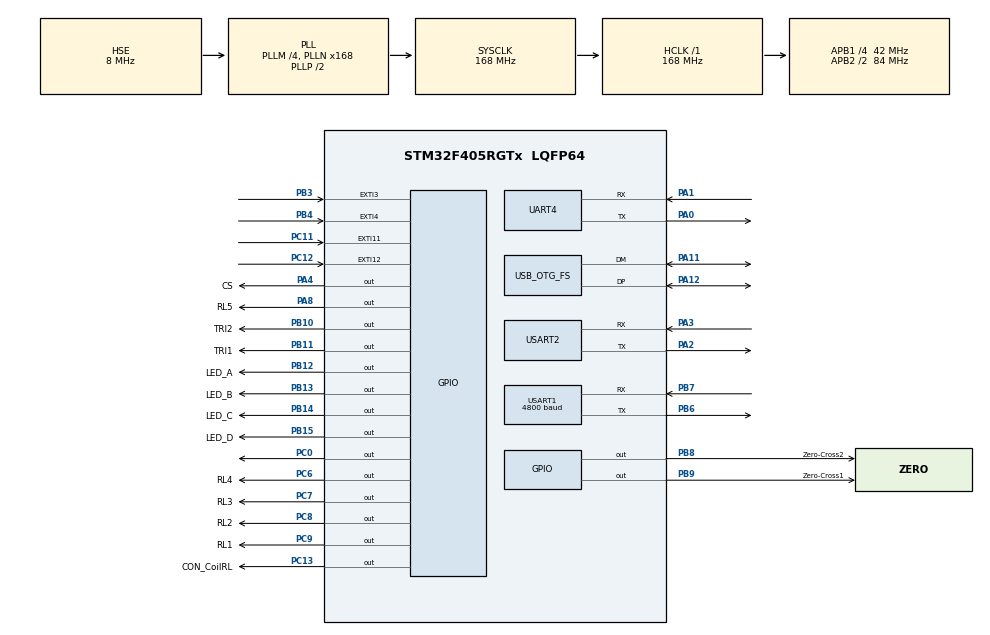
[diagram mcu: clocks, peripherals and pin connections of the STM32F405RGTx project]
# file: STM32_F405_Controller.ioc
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Mcu.Family=STM32F4
Mcu.Name=STM32F405RGTx
Mcu.Package=LQFP64
NVIC.EXTI15_10_IRQn=true\:0\:0\:false\:false\:true\:true\:true\:true
NVIC.EXTI3_IRQn=true\:0\:0\:false\:false\:true\:true\:true\:true
NVIC.EXTI4_IRQn=true\:0\:0\:false\:false\:true\:true\:true\:true
NVIC.PriorityGroup=NVIC_PRIORITYGROUP_4
NVIC.RCC_IRQn=true\:0\:0\:false\:false\:true\:true\:false\:true
NVIC.UART4_IRQn=true\:0\:0\:false\:false\:true\:true\:true\:true
PA0-WKUP.Mode=Asynchronous
PA0-WKUP.Signal=UART4_TX
PA1.Mode=Asynchronous
PA1.Signal=UART4_RX
PA11.Mode=Host_Only
PA11.Signal=USB_OTG_FS_DM
PA12.Mode=Host_Only
PA12.Signal=USB_OTG_FS_DP
PA13.Mode=Serial_Wire
PA13.Signal=SYS_JTMS-SWDIO
PA14.Mode=Serial_Wire
PA14.Signal=SYS_JTCK-SWCLK
PA2.Mode=Asynchronous
PA2.Signal=USART2_TX
PA3.Mode=Asynchronous
PA3.Signal=USART2_RX
PA4.GPIO_Label=CS
PA4.Signal=GPIO_Output
PA8.GPIO_Label=RL5
PA8.Signal=GPIO_Output
PB10.GPIO_Label=TRI2
PB10.Signal=GPIO_Output
PB11.GPIO_Label=TRI1
PB11.Signal=GPIO_Output
PB12.GPIO_Label=LED_A
PB12.Signal=GPIO_Output
PB13.GPIO_Label=LED_B
PB13.Signal=GPIO_Output
PB14.GPIO_Label=LED_C
PB14.Signal=GPIO_Output
PB15.GPIO_Label=LED_D
PB15.Signal=GPIO_Output
PB3.GPIO_PuPd=GPIO_PULLUP
PB3.Signal=GPXTI3
PB4.GPIO_PuPd=GPIO_PULLUP
PB4.Signal=GPXTI4
PB6.Mode=Asynchronous
PB6.Signal=USART1_TX
PB7.Mode=Asynchronous
PB7.Signal=USART1_RX
PB8.GPIO_Label=Zero-Cross2
PB8.Signal=GPIO_Output
PB9.GPIO_Label=Zero-Cross1
PB9.Signal=GPIO_Output
PC0.Signal=GPIO_Output
PC11.GPIO_PuPd=GPIO_PULLUP
PC11.Signal=GPXTI11
PC12.GPIO_PuPd=GPIO_PULLUP
PC12.Signal=GPXTI12
PC13-ANTI_TAMP.GPIO_Label=CON_CoilRL
PC13-ANTI_TAMP.Signal=GPIO_Output
PC6.GPIO_Label=RL4
PC6.Signal=GPIO_Output
PC7.GPIO_Label=RL3
PC7.Signal=GPIO_Output
PC8.GPIO_Label=RL2
PC8.Signal=GPIO_Output
PC9.GPIO_Label=RL1
PC9.Signal=GPIO_Output
PH0-OSC_IN.Mode=HSE-External-Oscillator
PH0-OSC_IN.Signal=RCC_OSC_IN
PH1-OSC_OUT.Mode=HSE-External-Oscillator
PH1-OSC_OUT.Signal=RCC_OSC_OUT
ProjectManager.HeapSize=0x200
ProjectManager.StackSize=0x400
ProjectManager.TargetToolchain=STM32CubeIDE
RCC.48MHZClocksFreq_Value=48000000
RCC.AHBFreq_Value=168000000
RCC.APB1CLKDivider=RCC_HCLK_DIV4
RCC.APB1Freq_Value=42000000
RCC.APB1TimFreq_Value=84000000
RCC.APB2CLKDivider=RCC_HCLK_DIV2
RCC.APB2Freq_Value=84000000
RCC.APB2TimFreq_Value=168000000
RCC.CortexFreq_Value=168000000
RCC.HCLKFreq_Value=168000000
RCC.HSE_VALUE=8000000
RCC.HSI_VALUE=16000000
RCC.LSE_VALUE=32768
RCC.PLLM=4
RCC.PLLN=168
RCC.PLLQ=7
RCC.SYSCLKFreq_VALUE=168000000
RCC.SYSCLKSource=RCC_SYSCLKSOURCE_PLLCLK
RCC.VCOOutputFreq_Value=336000000
UART4.VirtualMode=Asynchronous
USART1.BaudRate=4800
USART1.VirtualMode=VM_ASYNC
USART2.VirtualMode=VM_ASYNC
USB_OTG_FS.VirtualMode=Host_Only
USB_OTG_FS.phy_itface=HCD_PHY_EMBEDDED
VP_TIM2_VS_ClockSourceINT.Mode=Internal
board=custom

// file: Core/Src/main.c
/* USER CODE BEGIN Header */
/**
  ******************************************************************************
  * @file           : main.c
  * @brief          : Main program body
  ******************************************************************************
  * @attention
  *
  * Copyright (c) 2024 STMicroelectronics.
  * All rights reserved.
  *
  * This software is licensed under terms that can be found in the LICENSE file
  * in the root directory of this software component.
  * If no LICENSE file comes with this software, it is provided AS-IS.
  *
  ******************************************************************************
  */
/* USER CODE END Header */
#include "main.h"
#include "tim.h"
#include "usart.h"
#include "usb_otg.h"
#include "gpio.h"

/* USER CODE BEGIN Includes */
#include "math.h"
#include "stdio.h"
#include "stdlib.h"
#include "stdint.h"
#include "stdbool.h"

/* USER CODE END Includes */

/* USER CODE BEGIN PTD */
typedef union
{
		uint8_t 	B8[4];
		uint32_t	B32;
}B32_B8_TypeDef;

typedef enum
{
	COM_OK			=0x00U,
	COM_ERROR		=0x01U,
	COM_CHKERR	=0x02U
}Com_StatusTypeDef;

typedef enum
{
	OTP_SUCCESS	=0x01U,
	OTP_Fail=0x00U
}OTP_ProgStatusTpyeDef;

typedef struct
{
	uint16_t RMS_1;			//XX.XXX	A		0.001A/LSB
	uint16_t RMS_2;
	uint16_t RMS_3;
	uint16_t RMS_4;
	uint16_t RMS_5;
	uint16_t RMS_6;
	uint16_t RMS_7;
	uint16_t RMS_8;
	uint16_t RMS_9;
	uint16_t RMS_10;
	uint16_t RMS_V;			//XXX.X	 V			0.1Volts/LSB
	uint16_t WATT_1;		//XXXX.X W		    0.1Watt/LSB
	uint16_t WATT_2;
	uint16_t WATT_3;
	uint16_t WATT_4;
	uint16_t WATT_5;
	uint16_t WATT_6;
	uint16_t WATT_7;
	uint16_t WATT_8;
	uint16_t WATT_9;
	uint16_t WATT_10;
	uint16_t Energy_1;		//XXXXXX	kWh   Degree of electricity/LSB, maximum 65,535 degrees of electricity
	uint16_t Energy_2;
	uint16_t Energy_3;
	uint16_t Energy_4;
	uint16_t Energy_5;
	uint16_t Energy_6;
	uint16_t Energy_7;
	uint16_t Energy_8;
	uint16_t Energy_9;
	uint16_t Energy_10;
	uint16_t Energy_Sum;
	uint16_t Period;		//XX.XX	Hz		0.01Hz/LSB
	uint16_t TPS1;			//XX.XX   			0.01 °C/LSB
	uint16_t TPS2;
}Elect_StructDef;

typedef struct
{
	uint16_t	Cnt1;
	uint16_t	Cnt2;
	uint16_t	Cnt3;
	uint16_t	Cnt4;
	uint16_t	Cnt5;
	uint16_t	Cnt6;
	uint16_t	Cnt7;
	uint16_t	Cnt8;
	uint16_t	Cnt9;
	uint16_t	Cnt10;
	uint16_t  Cnt_Sum;
}Eng_CFCnt_StructDef;

//Data for electrical energy calculation
typedef struct
{
	uint16_t Energy001;		 //Electricity accumulation of more than 1 degree
	uint16_t cnt_remainder;	 //pulse base of 1 degree of electricity
}Eng_Cal_StructDef;

typedef struct {
	float Current1;
	float Current2;
	float Current3;
	float Current4;
	float Current5;

	float AP1; //Active Power
	float AP2;
	float AP3;
	float AP4;
	float AP5;

    float energy_value1;
    float energy_value2;
    float energy_value3;
    float energy_value4;
    float energy_value5;

    float Voltage;
    float Freq;
} BL0910Data;

//typedef struct{
//	bool swa;
//	bool swb;
//	bool swc;
//	bool swd;
//	bool swe;
//
//}SwitchTypedef;  //5 digital input value (Manual Button)

/* USER CODE END PTD */

/* USER CODE BEGIN PD */

#define Current_K	    19154
#define Voltage_k	    9000
#define Power_K		    54805
#define Energy_K	    8972
#define Energy_Sum_K 	560

//#define Power_K		    3425
//#define Current_K	    11971 193653.14
#define Sys_Rst								0
#define CalReg_RST							1

#define Addr_VERSION						0x00
#define	Addr_1_WAVE							0x01
#define	Addr_2_WAVE							0x02
#define	Addr_3_WAVE							0x03
#define	Addr_4_WAVE							0x04
#define	Addr_5_WAVE							0x05
#define	Addr_6_WAVE							0x06
#define	Addr_7_WAVE							0x07
#define	Addr_8_WAVE							0x08
#define	Addr_9_WAVE							0x09
#define	Addr_10_WAVE						0x0A
#define	Addr_V_WAVE							0x0B

#define Addr_1_RMS							0x0C
#define Addr_2_RMS							0x0D
#define Addr_3_RMS							0x0E
#define Addr_4_RMS							0x0F
#define Addr_5_RMS							0x10
#define Addr_6_RMS							0x11
#define Addr_7_RMS							0x12
#define Addr_8_RMS							0x13
#define Addr_9_RMS							0x14
#define Addr_10_RMS							0x15

#define Addr_V_RMS							0x16
#define Addr_1_FAST_RMS						0x17
#define Addr_2_FAST_RMS						0x18
#define Addr_3_FAST_RMS						0x19
#define Addr_4_FAST_RMS						0x1A
#define Addr_5_FAST_RMS						0x1B
#define Addr_6_FAST_RMS						0x1C
#define Addr_7_FAST_RMS						0x1D
#define Addr_8_FAST_RMS						0x1E
#define Addr_9_FAST_RMS						0x1F
#define Addr_10_FAST_RMS					0x20
#define Addr_V_FAST_RMS						0x21

#define Addr_WATT1							0x22 //Active power
#define Addr_WATT2							0x23
#define Addr_WATT3							0x24
#define Addr_WATT4							0x25
#define Addr_WATT5							0x26
#define Addr_WATT6							0x27
#define Addr_WATT7							0x28
#define Addr_WATT8							0x29
#define Addr_WATT9							0x2A
#define Addr_WATT10							0x2B
#define Addr_WATT							0x2C //REG watt total

#define Addr_VAR							0x2D
#define Addr_VA								0x2E
#define Addr_CF1_CNT						0x2F
#define Addr_CF2_CNT						0x30
#define Addr_CF3_CNT						0x31
#define Addr_CF4_CNT						0x32
#define Addr_CF5_CNT						0x33
#define Addr_CF6_CNT						0x34
#define Addr_CF7_CNT						0x35
#define Addr_CF8_CNT						0x36
#define Addr_CF9_CNT						0x37
#define Addr_CF10_CNT						0x38
#define Addr_CF_CNT							0x39
#define Addr_CFQ_CNT						0x3A
#define Addr_CFS_CNT						0x3B
#define Addr_ANGLE1							0x3C
#define Addr_ANGLE2							0x3D
#define Addr_ANGLE3							0x3E
#define Addr_ANGLE4							0x3F
#define Addr_ANGLE5							0x40
#define Addr_ANGLE6							0x41
#define Addr_ANGLE7							0x42
#define Addr_ANGLE8							0x43
#define Addr_ANGLE9							0x44
#define Addr_ANGLE10						0x45
#define Addr_1_FAST_RMS_HOLD		0x46
#define Addr_2_FAST_RMS_HOLD		0x47
#define Addr_3_FAST_RMS_HOLD		0x48
#define Addr_4_FAST_RMS_HOLD		0x49
#define Addr_PF								0x4A
#define Addr_LINE_WATTHR					0x4B
#define Addr_LINE_VARHR						0x4C
#define Addr_SIGN							0x4D
#define Addr_PERIOD							0x4E

#define Addr_STATUS1						0x54
#define Addr_STATUS2						0x55
#define Addr_STATUS3						0x56
#define Addr_5_FAST_RMS_HOLD		0x57
#define Addr_6_FAST_RMS_HOLD		0x58
#define Addr_7_FAST_RMS_HOLD		0x59
#define Addr_8_FAST_RMS_HOLD		0x5A
#define Addr_9_FAST_RMS_HOLD		0x5B
#define Addr_10_FAST_RMS_HOLD		0x5C
#define Addr_VAR1							0x5D
#define Addr_TPS1							0x5E
#define Addr_TPS2							0x5F

#define Addr_GAIN1							0x60
#define Addr_GAIN2							0x61

#define Addr_PHASE1_2						0x64
#define Addr_PHASE3_4						0x65
#define Addr_PHASE5_6						0x66
#define Addr_PHASE7_8						0x67
#define Addr_PHASE9_10						0x68
#define Addr_PHASE11						0x69
#define Addr_VAR_PHCAL_I					0x6A
#define Addr_VAR_PHCAL_V					0x6B
#define Addr_RMSGN1							0x6C
#define Addr_RMSGN2							0x6D
#define Addr_RMSGN3							0x6E
#define Addr_RMSGN4							0x6F
#define Addr_RMSGN5							0x70
#define Addr_RMSGN6							0x71
#define Addr_RMSGN7							0x72
#define Addr_RMSGN8							0x73
#define Addr_RMSGN9							0x74
#define Addr_RMSGN10						0x75
#define Addr_RMSGN11						0x76
#define Addr_RMSOS1							0x77
#define Addr_RMSOS2							0x78
#define Addr_RMSOS3							0x79
#define Addr_RMSOS4							0x7A
#define Addr_RMSOS5							0x7B
#define Addr_RMSOS6							0x7C
#define Addr_RMSOS7							0x7D
#define Addr_RMSOS8							0x7E
#define Addr_RMSOS9							0x7F
#define Addr_RMSOS10						0x80
#define Addr_RMSOS11						0x81
#define Addr_WA_LOS1_2						0x82
#define Addr_WA_LOS3_4						0x83
#define Addr_WA_LOS5_6						0x84
#define Addr_WA_LOS7_8						0x85
#define Addr_WA_LOS9_10						0x86
#define Addr_VAR_LOS						0x87
#define Addr_VAR_WATT_CREEP					0x88
#define Addr_WA_CREEP2						0x89
#define	Addr_RMS_CREEP						0x8A
#define Addr_FAST_RMS_CTRL					0x8B
#define Addr_I_V_PKLVL						0x8C

#define Addr_SAGCYC_ZXTOUT					0x8E
#define Addr_SAGLVL_LINECYC					0x8F
#define Addr_FLAG_CTRL						0x90
#define Addr_FLAG_CTRL1						0x91
#define Addr_FLAG_CTRL2						0x92
#define Addr_ADC_PD							0x93
#define Addr_TPS_CTRL						0x94
#define Addr_TPS2_A_B						0x95
#define Addr_MODE1							0x96
#define Addr_MODE2							0x97
#define Addr_MODE3							0x98

#define Addr_MASK1							0x9A
#define Addr_MASK2							0x9B

#define Addr_RST_ENG						0x9D
#define Addr_USR_WRPROT					    0x9E
#define Addr_SOFT_RESET						0x9F

#define Addr_CHGN1							0xA0
#define Addr_CHGN2							0xA1
#define Addr_CHGN3							0xA2
#define Addr_CHGN4							0xA3
#define Addr_CHGN5							0xA4
#define Addr_CHGN6							0xA5
#define Addr_CHGN7							0xA6
#define Addr_CHGN8							0xA7
#define Addr_CHGN9							0xA8
#define Addr_CHGN10							0xA9
#define Addr_CHGN11							0xAA
#define Addr_CHOS1							0xAB
#define Addr_CHOS2							0xAC
#define Addr_CHOS3							0xAD
#define Addr_CHOS4							0xAE
#define Addr_CHOS5							0xAF
#define Addr_CHOS6							0xB0
#define Addr_CHOS7							0xB1
#define Addr_CHOS8							0xB2
#define Addr_CHOS9							0xB3
#define Addr_CHOS10							0xB4
#define Addr_CHOS11							0xB5
#define Addr_WATTGN1						0xB6
#define Addr_WATTGN2						0xB7
#define Addr_WATTGN3						0xB8
#define Addr_WATTGN4						0xB9
#define Addr_WATTGN5						0xBA
#define Addr_WATTGN6						0xBB
#define Addr_WATTGN7						0xBC
#define Addr_WATTGN8						0xBD
#define Addr_WATTGN9						0xBE
#define Addr_WATTGN10						0xBF
#define Addr_WATTOS1						0xC0
#define Addr_WATTOS2						0xC1
#define Addr_WATTOS3						0xC2
#define Addr_WATTOS4						0xC3
#define Addr_WATTOS5						0xC4
#define Addr_WATTOS6						0xC5
#define Addr_WATTOS7						0xC6
#define Addr_WATTOS8						0xC7
#define Addr_WATTOS9						0xC8
#define Addr_WATTOS10						0xC9
#define Addr_VARGN							0xCA
#define Addr_VAROS							0xCB
#define Addr_VAGN							0xCC
#define Addr_VAOS							0xCD
#define Addr_CFDIV						    0xCE

/* USER CODE END PD */

/* USER CODE BEGIN PV */
// Variables for electrical energy calculation, used for parameter transmission
Eng_Cal_StructDef Eng_Cal;
// The pulse base of 10 channels is less than 1 degree of electricity
Eng_CFCnt_StructDef Eng_CFCnt;
Elect_StructDef BL0910_Elect;
Com_StatusTypeDef	BL0910_ComSta;
B32_B8_TypeDef BL0910_Data;
uint8_t flg_FrameStart;
BL0910Data BL0910_package;
uint8_t relay_state[5] = {0, 0, 0, 0, 0};  // Assume all relays are off initially

static float vol=0.0,freq=0.0;
static float I1=0.0,I2=0.0,I3=0.0,I4=0.0,I5=0.0,
						 I6=0.0,I7=0.0,I8=0.0,I9=0.0,I10=0.0;
static float P1=0.0,P2=0.0,P3=0.0,P4=0.0,P5=0.0,
						 P6=0.0,P7=0.0,P8=0.0,P9=0.0,P10=0.0;
//static float fv = 0.01,fi=0.00003549,fp=0.002793561566656,ff=0.01;
static float fv = 0.01,fi=0.001,fp=0.1,ff=0.01;

//static const float BL0910_IREF = (12875.0f * 33.0f) / (1.097f * 2000.0f / 1000.0f); // magic1 * Rburden1 / Vref * CT ratio
//static const float BL0910_UREF = (13162.0f * 220.0f) / (1.097f * 132.0f); // magic2 * Rburden2 / Vref * PT primary resistance
//static const float BL0910_PREF = (40.4125f * 33.0f * 220.0f * 1000.0f / 2000.0f) / (1.097f * 1.097f * 132.0f); // magic3 * Rburden1 * Rburden2 / Vref * Vref * PT primary resistance * CT ratio
//static const float BL0910_EREF = (3600000.0f * 16.0f * BL0910_PREF) / (4194304.0f * 0.032768f * 16.0f);

volatile uint8_t relay_flag = 0;  // Flag to indicate relay control
volatile uint8_t relay_flag1 = 0;  // Flag to indicate relay control
volatile uint8_t button_pressed = 0;
volatile uint8_t button_state = 0;
 uint8_t mode1 = 0;
 uint8_t mode2 = 0;
 uint8_t mode3 = 0;
 uint8_t mode4 = 0;
 uint8_t mode5 = 0;
char rx_relay;
char rx_relay1;
uint8_t toggle_BT[5];
//SwitchTypedef BT_Buffer;

/* USER CODE END PV */

void SystemClock_Config(void);
/* USER CODE BEGIN PFP */
uint8_t ChkSum_Cal(uint8_t Cmd,uint8_t REG_Addr,uint8_t *pData,uint8_t Size);
void BL0910_SPI_Write(uint8_t REG_Addr,B32_B8_TypeDef *pData);
void BL0910_SPI_Read(uint8_t REG_Addr,B32_B8_TypeDef *pData);
void BL0910_Uart_Write(uint8_t REG_Addr,B32_B8_TypeDef *pData);
void BL0910_Uart_Read(uint8_t REG_Addr,B32_B8_TypeDef *pData);
void BL0910_SoftRst(uint8_t	Rst_Type);
void BL0910_Init(void);
void BL0910_Elect_Proc(void);
void Energy_Cal(uint32_t Cnt);

void BL0910_Write(uint8_t REG_Addr,B32_B8_TypeDef *pData);
void BL0910_Read(uint8_t REG_Addr,B32_B8_TypeDef *pData);
void BL0910_Printf_All(void);
void stateRELAY(void);
//void stateRELAY2(void);
void updateSwitch(void);
//void switch_update(void);

/* USER CODE END PFP */

/* USER CODE BEGIN 0 */
void HAL_UART_RxCpltCallback(UART_HandleTypeDef *huart)
{

	if (huart->Instance == UART4)
  {
    relay_flag = 1;  // Set flag to indicate data received
    HAL_UART_Receive_IT(&huart4, (uint8_t*)&rx_relay, 1); // receive next character

  }
}
void HAL_GPIO_EXTI_Callback(uint16_t GPIO_Pin)
{
    relay_flag1 = 1;  // Set the flag to indicate a button press

//    if (GPIO_Pin == GPIO_PIN_3)  // Button 1
//       {
//    	 static uint8_t press_count = 0;
//
//    	        // Increment press count with each press
//    	        press_count++;
//
//    	        if (press_count == 1)
//    	        {
//    	            mode1 = 1;  // First press: turn on relay1
//    	        }
//    	        else if (press_count == 2)
//    	        {
//    	            mode1 = 0;  // Second press: turn off relay1
//    	        }
//    	        else if (press_count == 3)
//    	        {
//    	            mode1 = 1;  // Third press: turn on relay1 (or any other specific action)
//    	            press_count = 0;  // Reset the count after the third press
//    	        }
    	  //  }

     //  }
//       if (GPIO_Pin == GPIO_PIN_4)  // Button 2
//       {
//           mode2 = !mode2;  // Toggle mode2 between 1 and 0
//       }
//   //    if (GPIO_Pin == GPIO_PIN_5)  // Button 3
//   //    {
//   //        mode3 = !mode3;  // Toggle mode3 between 1 and 0
//   //    }
//       if (GPIO_Pin == GPIO_PIN_11)  // Button 4
//       {
//           mode4 = !mode4;  // Toggle mode4 between 1 and 0
//       }
//       if (GPIO_Pin == GPIO_PIN_12)  // Button 5
//       {
//           mode5 = !mode5;  // Toggle mode5 between 1 and 0
//       }
}

/* USER CODE END 0 */

int main(void)
{

  /* MCU Configuration--------------------------------------------------------*/

  /* Reset of all peripherals, Initializes the Flash interface and the Systick. */
  HAL_Init();

  /* Configure the system clock */
  SystemClock_Config();

  /* Initialize all configured peripherals */
  MX_GPIO_Init();
  MX_TIM2_Init();
  MX_USART1_UART_Init();
  MX_USB_OTG_FS_HCD_Init();
  MX_UART4_Init();
  MX_USART2_UART_Init();
  /* USER CODE BEGIN 2 */
  BL0910_Init();
  uint32_t loop_timer = HAL_GetTick();//Timer counter
  HAL_UART_Receive_IT(&huart4, (uint8_t*)&rx_relay, 1); // start receiving
  HAL_Delay(50);
  HAL_GPIO_WritePin(CON_CoilRL_GPIO_Port, CON_CoilRL_Pin, 0);
  HAL_GPIO_WritePin(TRI1_GPIO_Port, TRI1_Pin, 0);
  HAL_GPIO_WritePin(TRI2_GPIO_Port, TRI2_Pin, 0);
  /* USER CODE END 2 */

  /* Infinite loop */
  /* USER CODE BEGIN WHILE */
  while (1)
  {
	  if ( HAL_GetTick() - loop_timer > 2000 ){
	 	  loop_timer = HAL_GetTick();
	 	   BL0910_Elect_Proc();

			vol = BL0910_Elect.RMS_V * fv; //Voltage (V) Volt
			freq = BL0910_Elect.Period * ff; //Frequency Hz (Hertz)

			I1 = BL0910_Elect.RMS_1 * fi; //Current 1 (A) Ampere
			I2 = BL0910_Elect.RMS_2 * fi;
			I3 = BL0910_Elect.RMS_3 * fi;
			I4 = BL0910_Elect.RMS_4 * fi;
			I5 = BL0910_Elect.RMS_5 * fi;
			I6 = BL0910_Elect.RMS_6 * fi;
			//I6 = 1.0245;
			I7 = BL0910_Elect.RMS_7 * fi;
			I8 = BL0910_Elect.RMS_8 * fi;
			I9 = BL0910_Elect.RMS_9 * fi;
			I10 = BL0910_Elect.RMS_10 * fi;
			P1 = BL0910_Elect.WATT_1 * fp; //Active Power1 W (Watt)
			P2 = BL0910_Elect.WATT_2 * fp;
			P3 = BL0910_Elect.WATT_3 * fp;
			P4 = BL0910_Elect.WATT_4 * fp;
			P5 = BL0910_Elect.WATT_5 * fp;
			P6 = BL0910_Elect.WATT_6 * fp;
			P7 = BL0910_Elect.WATT_7 * fp;
			P8 = BL0910_Elect.WATT_8 * fp;
			P9 = BL0910_Elect.WATT_9 * fp;
			P10 = BL0910_Elect.WATT_10 * fp;

//			I6 =  BL0910_Elect.RMS_6/ BL0910_IREF*100; //Random
//			I7 =  BL0910_Elect.RMS_7/ BL0910_IREF*100;
//			I8=   BL0910_Elect.RMS_8/ BL0910_IREF*100;
//		    I9 =  BL0910_Elect.RMS_9/ BL0910_IREF*100;
//			I10 = BL0910_Elect.RMS_10/ BL0910_IREF*100;

//			P6 = vol* I6;
//			P7 = vol* I7;
//			P8 = vol* I8;
//			P9 = vol* I9;
//			P10 = vol* I10;

			BL0910_package.Current1 = I6;
			BL0910_package.Current2 = I7;
			BL0910_package.Current3 = I8;
			BL0910_package.Current4 = I9;
			BL0910_package.Current5 = I10;

			BL0910_package.AP1 = P6;
			BL0910_package.AP2 = P7;
			BL0910_package.AP3 = P8;
			BL0910_package.AP4 = P9;
			BL0910_package.AP5 = P10;

			BL0910_package.energy_value1 = P6*1/ 1000;
			BL0910_package.energy_value2 = P7*1/ 1000;
			BL0910_package.energy_value3 = P8*1/ 1000;
			BL0910_package.energy_value4 = P9*1/ 1000;
			BL0910_package.energy_value5 = P10*1/ 1000;

	 	    BL0910_package.Voltage = vol;
			BL0910_package.Freq = freq;

			HAL_UART_Transmit(&huart4, &BL0910_package, sizeof(BL0910_package),100);
			HAL_UART_Transmit(&huart2, &BL0910_package, sizeof(BL0910_package),100);
			HAL_GPIO_TogglePin(LED_A_GPIO_Port, LED_A_Pin); //LED_A Indicator
	 	 	  }
	  if (relay_flag == 1)
	      {   HAL_Delay(500);
	          stateRELAY();  // Call relay control function
	          HAL_Delay(50);
	          relay_flag = 0;  // Clear flag
	      }
//	  if (GPIO_Pin == GPIO_PIN_3)  // Button 1
//	         {
//	             mode1 = !mode1;  // Toggle mode1 between 1 and 0
//
//	         }
	  //updateSwitch();
	  // Control relays based on the button pressed
//	  if (relay_flag1 == 1)
//	     {
//
//		  HAL_Delay(500);
////RL1
//			if (mode1 == 0) {
//				HAL_GPIO_WritePin(CON_CoilRL_GPIO_Port, CON_CoilRL_Pin, 1);
//				HAL_Delay(50);
//				HAL_GPIO_WritePin(RL1_GPIO_Port, RL1_Pin, 1);
//				HAL_Delay(50);
//				HAL_GPIO_WritePin(CON_CoilRL_GPIO_Port, CON_CoilRL_Pin, 0);
//				HAL_GPIO_WritePin(LED_D_GPIO_Port, LED_D_Pin, 1);
//			}
//			if (mode1 == 1) {
//				HAL_GPIO_WritePin(CON_CoilRL_GPIO_Port, CON_CoilRL_Pin, 1);
//				HAL_Delay(50);
//				HAL_GPIO_WritePin(RL1_GPIO_Port, RL1_Pin, 0);
//				HAL_Delay(50);
//				HAL_GPIO_WritePin(CON_CoilRL_GPIO_Port, CON_CoilRL_Pin, 0);
//				HAL_GPIO_WritePin(LED_D_GPIO_Port, LED_D_Pin, 0);
//				//RL2
//			}
//			if (mode2 == 0) {
//				HAL_GPIO_WritePin(CON_CoilRL_GPIO_Port, CON_CoilRL_Pin, 1);
//				HAL_Delay(50);
//				HAL_GPIO_WritePin(RL2_GPIO_Port, RL2_Pin, 1);
//				HAL_Delay(50);
//				HAL_GPIO_WritePin(CON_CoilRL_GPIO_Port, CON_CoilRL_Pin, 0);
//				HAL_GPIO_WritePin(LED_C_GPIO_Port, LED_C_Pin, 1);
//			}
//			if (mode2 == 1) {
//				HAL_GPIO_WritePin(CON_CoilRL_GPIO_Port, CON_CoilRL_Pin, 1);
//				HAL_Delay(50);
//				HAL_GPIO_WritePin(RL2_GPIO_Port, RL2_Pin, 0);
//				HAL_Delay(50);
//				HAL_GPIO_WritePin(CON_CoilRL_GPIO_Port, CON_CoilRL_Pin, 0);
//				HAL_GPIO_WritePin(LED_C_GPIO_Port, LED_C_Pin, 0);
//			}
//			//RL3
//			if (mode4 == 0) {
//				HAL_GPIO_WritePin(CON_CoilRL_GPIO_Port, CON_CoilRL_Pin, 1);
//				HAL_Delay(50);
//				HAL_GPIO_WritePin(RL3_GPIO_Port, RL3_Pin, 1);
//				HAL_Delay(50);
//				HAL_GPIO_WritePin(CON_CoilRL_GPIO_Port, CON_CoilRL_Pin, 0);
//				HAL_GPIO_WritePin(LED_B_GPIO_Port, LED_B_Pin, 1);
//			}
//			if (mode4 == 1) {
//				HAL_GPIO_WritePin(CON_CoilRL_GPIO_Port, CON_CoilRL_Pin, 1);
//				HAL_Delay(50);
//				HAL_GPIO_WritePin(RL3_GPIO_Port, RL3_Pin, 0);
//				HAL_Delay(50);
//				HAL_GPIO_WritePin(CON_CoilRL_GPIO_Port, CON_CoilRL_Pin, 0);
//				HAL_GPIO_WritePin(LED_B_GPIO_Port, LED_B_Pin, 0);
//			}
//			//RL4
//			if (mode5 == 0) {
//				HAL_GPIO_WritePin(CON_CoilRL_GPIO_Port, CON_CoilRL_Pin, 1);
//				HAL_Delay(50);
//				HAL_GPIO_WritePin(RL4_GPIO_Port, RL4_Pin, 1);
//				HAL_Delay(50);
//				HAL_GPIO_WritePin(CON_CoilRL_GPIO_Port, CON_CoilRL_Pin, 0);
//				//HAL_GPIO_WritePin(LED_B_GPIO_Port, LED_B_Pin, 1);
//			}
//			if (mode5 == 1) {
//				HAL_GPIO_WritePin(CON_CoilRL_GPIO_Port, CON_CoilRL_Pin, 1);
//				HAL_Delay(50);
//				HAL_GPIO_WritePin(RL4_GPIO_Port, RL4_Pin, 0);
//				HAL_Delay(50);
//				HAL_GPIO_WritePin(CON_CoilRL_GPIO_Port, CON_CoilRL_Pin, 0);
//				//HAL_GPIO_WritePin(LED_B_GPIO_Port, LED_B_Pin, 0);
//			}
//		  HAL_Delay(50);
//	       relay_flag1 = 0;  // Reset the flag after handling the relay
//	     }

    /* USER CODE END WHILE */

  }
}

void SystemClock_Config(void)
{
  RCC_OscInitTypeDef RCC_OscInitStruct = {0};
  RCC_ClkInitTypeDef RCC_ClkInitStruct = {0};

  /** Configure the main internal regulator output voltage
  */
  __HAL_RCC_PWR_CLK_ENABLE();
  __HAL_PWR_VOLTAGESCALING_CONFIG(PWR_REGULATOR_VOLTAGE_SCALE1);

  /** Initializes the RCC Oscillators according to the specified parameters
  * in the RCC_OscInitTypeDef structure.
  */
  RCC_OscInitStruct.OscillatorType = RCC_OSCILLATORTYPE_HSE;
  RCC_OscInitStruct.HSEState = RCC_HSE_ON;
  RCC_OscInitStruct.PLL.PLLState = RCC_PLL_ON;
  RCC_OscInitStruct.PLL.PLLSource = RCC_PLLSOURCE_HSE;
  RCC_OscInitStruct.PLL.PLLM = 4;
  RCC_OscInitStruct.PLL.PLLN = 168;
  RCC_OscInitStruct.PLL.PLLP = RCC_PLLP_DIV2;
  RCC_OscInitStruct.PLL.PLLQ = 7;
  if (HAL_RCC_OscConfig(&RCC_OscInitStruct) != HAL_OK)
  {
    Error_Handler();
  }

  /** Initializes the CPU, AHB and APB buses clocks
  */
  RCC_ClkInitStruct.ClockType = RCC_CLOCKTYPE_HCLK|RCC_CLOCKTYPE_SYSCLK
                              |RCC_CLOCKTYPE_PCLK1|RCC_CLOCKTYPE_PCLK2;
  RCC_ClkInitStruct.SYSCLKSource = RCC_SYSCLKSOURCE_PLLCLK;
  RCC_ClkInitStruct.AHBCLKDivider = RCC_SYSCLK_DIV1;
  RCC_ClkInitStruct.APB1CLKDivider = RCC_HCLK_DIV4;
  RCC_ClkInitStruct.APB2CLKDivider = RCC_HCLK_DIV2;

  if (HAL_RCC_ClockConfig(&RCC_ClkInitStruct, FLASH_LATENCY_5) != HAL_OK)
  {
    Error_Handler();
  }
}

/* USER CODE BEGIN 4 */
//CHECKSUM byte is((ADDR+Data_L+Data_M+Data_H)& 0xFF) and then inverted by bit (based on datasheet)
uint8_t ChkSum_Cal(uint8_t Cmd,uint8_t REG_Addr,uint8_t *pData,uint8_t Size)
{
	uint8_t tmp;
	uint8_t i;
	tmp=Cmd+ REG_Addr;
	for (i = 0; i < Size; ++i)
		{
			tmp+=pData[i];
		}
	tmp=~tmp;
	return tmp;

}
void BL0910_Uart_Write(uint8_t REG_Addr,B32_B8_TypeDef *pData)
{
	uint8_t lb_SendData[6];
	lb_SendData[0]=pData->B8[0];
	lb_SendData[1]=pData->B8[1];
	lb_SendData[2]=pData->B8[2];
	lb_SendData[5]=ChkSum_Cal(0x00,REG_Addr,lb_SendData,3);
	lb_SendData[0]=0xCA;
	lb_SendData[1]=REG_Addr;
	lb_SendData[2]=pData->B8[0];
	lb_SendData[3]=pData->B8[1];
	lb_SendData[4]=pData->B8[2];
	HAL_UART_Transmit(&huart1,lb_SendData,6,200);

}
void BL0910_Uart_Read(uint8_t REG_Addr,B32_B8_TypeDef *pData)
{
	HAL_StatusTypeDef	sta_UARTRec;
	uint8_t lb_SendData[2];
	uint8_t lb_RecData[4];
	uint8_t	lb_ChkSumCal;
	lb_SendData[0]=0x35;
	lb_SendData[1]=REG_Addr;
	HAL_UART_Transmit(&huart1,lb_SendData,2,200);
	sta_UARTRec = HAL_UART_Receive(&huart1,lb_RecData,4,400);
	if (sta_UARTRec==HAL_OK)
		{
			lb_ChkSumCal=ChkSum_Cal(0x00,REG_Addr,lb_RecData,3);
			if(lb_ChkSumCal==lb_RecData[3])
				{
					pData->B8[0]=lb_RecData[0];
					pData->B8[1]=lb_RecData[1];
					pData->B8[2]=lb_RecData[2];
					pData->B8[3]=lb_RecData[3];				//CHKSUM
					BL0910_ComSta=COM_OK;
				}
			else
				BL0910_ComSta=COM_CHKERR;
		}
	else			//Check communicate status
		{
				BL0910_ComSta=COM_ERROR;
		}
}
void BL0910_SoftRst(uint8_t	Rst_Type)
{
	BL0910_Data.B32=0x5555;
	BL0910_Uart_Write(Addr_USR_WRPROT, &BL0910_Data);
	HAL_Delay(1);
	BL0910_Uart_Read(Addr_USR_WRPROT,&BL0910_Data);
	BL0910_Data.B32=0x5A5A5A;
	BL0910_Uart_Write(Addr_SOFT_RESET, &BL0910_Data);
	if (Rst_Type==Sys_Rst)
	{
		BL0910_Data.B32=0x5A5A5A;
		BL0910_Uart_Write(Addr_SOFT_RESET, &BL0910_Data);
	}
	else
	{
		BL0910_Data.B32=0x55AA55;
		BL0910_Uart_Write(Addr_SOFT_RESET, &BL0910_Data);
	}
	HAL_Delay(1);

}
void BL0910_Init(void)
{
	BL0910_Data.B8[0]=0x55;
	BL0910_Data.B8[1]=0x55;
	BL0910_Data.B8[2]=0x00;
	BL0910_Write(Addr_USR_WRPROT, &BL0910_Data);
	HAL_Delay(1);
	BL0910_Data.B32=0x010600;
	BL0910_Write(Addr_MODE3, &BL0910_Data);

	BL0910_Data.B32=0x333330;
	BL0910_Write(Addr_GAIN1, &BL0910_Data);
	BL0910_Data.B32=0x033333;
	BL0910_Write(Addr_GAIN2, &BL0910_Data);

	BL0910_Data.B32=Current_K*8/100;
	BL0910_Write(Addr_RMS_CREEP, &BL0910_Data);
	BL0910_Data.B32 = Power_K / 10;
	BL0910_Write(Addr_VAR_WATT_CREEP, &BL0910_Data);

	BL0910_Data.B32 = 0x1FFF;
	BL0910_Write(Addr_RST_ENG, &BL0910_Data);

	BL0910_Data.B32 = 0x5A5A5A;
	BL0910_Write(Addr_SOFT_RESET, &BL0910_Data);
	HAL_Delay(2);
	// ر д
	BL0910_Data.B8[0] = 0x00;
	BL0910_Data.B8[1] = 0x00;
	BL0910_Data.B8[2] = 0x00;
	BL0910_Write(Addr_USR_WRPROT, &BL0910_Data);

}
void BL0910_Elect_Proc(void){
	B32_B8_TypeDef tmp_D;
	//Read the effective value of 10 channels of currentֵ
	BL0910_Read(Addr_1_RMS, &BL0910_Data);
	tmp_D.B32=BL0910_Data.B32;
	tmp_D.B8[3]=0;
	//Remove the check Byte
	tmp_D.B32=tmp_D.B32*100/Current_K; //Current_K is reduced by 10 times, *100 is magnification 100 times, so the total amplification of current is 1000 times.
	BL0910_Elect.RMS_1=tmp_D.B32;
	BL0910_Read(Addr_2_RMS, &BL0910_Data);
	tmp_D.B32=BL0910_Data.B32;
	tmp_D.B8[3]=0;
	tmp_D.B32=tmp_D.B32*100/Current_K;
	BL0910_Elect.RMS_2=tmp_D.B32;
	BL0910_Read(Addr_3_RMS, &BL0910_Data);
	tmp_D.B32=BL0910_Data.B32;
	tmp_D.B8[3]=0;
	tmp_D.B32=tmp_D.B32*100/Current_K;
	BL0910_Elect.RMS_3=tmp_D.B32;
	BL0910_Read(Addr_4_RMS, &BL0910_Data);
	tmp_D.B32=BL0910_Data.B32;
	tmp_D.B8[3]=0;
	tmp_D.B32=tmp_D.B32*100/Current_K;
	BL0910_Elect.RMS_4=tmp_D.B32;
	BL0910_Read(Addr_5_RMS, &BL0910_Data);
	tmp_D.B32=BL0910_Data.B32;
	tmp_D.B8[3]=0;
	tmp_D.B32=tmp_D.B32*100/Current_K;
	BL0910_Elect.RMS_5=tmp_D.B32;
	BL0910_Read(Addr_6_RMS, &BL0910_Data);
	tmp_D.B32=BL0910_Data.B32;
	tmp_D.B8[3]=0;
	tmp_D.B32=tmp_D.B32*100/Current_K;
	BL0910_Elect.RMS_6=tmp_D.B32;
	BL0910_Read(Addr_7_RMS, &BL0910_Data);
	tmp_D.B32=BL0910_Data.B32;
	tmp_D.B8[3]=0;
	tmp_D.B32=tmp_D.B32*100/Current_K;
	BL0910_Elect.RMS_7=tmp_D.B32;
	BL0910_Read(Addr_8_RMS, &BL0910_Data);
	tmp_D.B32=BL0910_Data.B32;
	tmp_D.B8[3]=0;
	tmp_D.B32=tmp_D.B32*100/Current_K;
	BL0910_Elect.RMS_8=tmp_D.B32;
	BL0910_Read(Addr_9_RMS, &BL0910_Data);
	tmp_D.B32=BL0910_Data.B32;
	tmp_D.B8[3]=0;
	tmp_D.B32=tmp_D.B32*100/Current_K;
	BL0910_Elect.RMS_9=tmp_D.B32;
	BL0910_Read(Addr_10_RMS, &BL0910_Data);
	tmp_D.B32=BL0910_Data.B32;
	tmp_D.B8[3]=0;
	tmp_D.B32=tmp_D.B32*100/Current_K;
	BL0910_Elect.RMS_10=tmp_D.B32;

	//Read the effective value of voltage ֵ
	BL0910_Read(Addr_V_RMS, &BL0910_Data);
	tmp_D.B32=BL0910_Data.B32;
	tmp_D.B8[3]=0;
	tmp_D.B32=tmp_D.B32*100/Voltage_k;
	BL0910_Elect.RMS_V=tmp_D.B32;

	//Read 10 active power
	BL0910_Read(Addr_WATT1, &BL0910_Data);
	tmp_D.B32=BL0910_Data.B32;
	tmp_D.B8[3]=0;
	if (tmp_D.B32>=8388607) //Determine whether the power is reversed and do the supplementary code conversion.
		{
			tmp_D.B32=0x1000000-tmp_D.B32;
		}
	//Power_K is magnified by 10 times, *100 is magnified by 100 times, so the total power magnification is 10 times.
	tmp_D.B32=tmp_D.B32*100/Power_K;
	BL0910_Elect.WATT_1=tmp_D.B32;
	BL0910_Read(Addr_WATT2, &BL0910_Data);
	tmp_D.B32=BL0910_Data.B32;
	tmp_D.B8[3]=0;
	if (tmp_D.B32>=8388607)
		{
			tmp_D.B32=0x1000000-tmp_D.B32;
		}
	tmp_D.B32=tmp_D.B32*100/Power_K;
	BL0910_Elect.WATT_2=tmp_D.B32;
	BL0910_Read(Addr_WATT3, &BL0910_Data);
	tmp_D.B32=BL0910_Data.B32;
	tmp_D.B8[3]=0;
	if (tmp_D.B32>=8388607)
		{
			tmp_D.B32=0x1000000-tmp_D.B32;
		}
	tmp_D.B32=tmp_D.B32*100/Power_K;
	BL0910_Elect.WATT_3=tmp_D.B32;
	BL0910_Read(Addr_WATT4, &BL0910_Data);
	tmp_D.B32=BL0910_Data.B32;
	tmp_D.B8[3]=0;
	if (tmp_D.B32>=8388607)
		{
			tmp_D.B32=0x1000000-tmp_D.B32;
		}
	tmp_D.B32=tmp_D.B32*100/Power_K;
	BL0910_Elect.WATT_4=tmp_D.B32;
	BL0910_Read(Addr_WATT5, &BL0910_Data);
	tmp_D.B32=BL0910_Data.B32;
	tmp_D.B8[3]=0;
	if (tmp_D.B32>=8388607)
		{
			tmp_D.B32=0x1000000-tmp_D.B32;
		}
	tmp_D.B32=tmp_D.B32*100/Power_K;
	BL0910_Elect.WATT_5=tmp_D.B32;
	BL0910_Read(Addr_WATT6, &BL0910_Data);
	tmp_D.B32=BL0910_Data.B32;
	tmp_D.B8[3]=0;
	if (tmp_D.B32>=8388607)
		{
			tmp_D.B32=0x1000000-tmp_D.B32;
		}
	tmp_D.B32=tmp_D.B32*100/Power_K;
	BL0910_Elect.WATT_6=tmp_D.B32;
	BL0910_Read(Addr_WATT7, &BL0910_Data);
	tmp_D.B32=BL0910_Data.B32;
	tmp_D.B8[3]=0;
	if (tmp_D.B32>=8388607)
		{
			tmp_D.B32=0x1000000-tmp_D.B32;
		}
	tmp_D.B32=tmp_D.B32*100/Power_K;
	BL0910_Elect.WATT_7=tmp_D.B32;
	BL0910_Read(Addr_WATT8, &BL0910_Data);
	tmp_D.B32=BL0910_Data.B32;
	tmp_D.B8[3]=0;
	if (tmp_D.B32>=8388607)
		{

			tmp_D.B32=0x1000000-tmp_D.B32;
		}
	tmp_D.B32=tmp_D.B32*100/Power_K;
	BL0910_Elect.WATT_8=tmp_D.B32;
	BL0910_Read(Addr_WATT9, &BL0910_Data);
	tmp_D.B32=BL0910_Data.B32;
	tmp_D.B8[3]=0;
	if (tmp_D.B32>=8388607)
		{
			tmp_D.B32=0x1000000-tmp_D.B32;
		}
	tmp_D.B32=tmp_D.B32*100/Power_K;
	BL0910_Elect.WATT_9=tmp_D.B32;
	BL0910_Read(Addr_WATT10, &BL0910_Data);
	tmp_D.B32=BL0910_Data.B32;
	tmp_D.B8[3]=0;
	if (tmp_D.B32>=8388607)
		{
			tmp_D.B32=0x1000000-tmp_D.B32;
		}
	tmp_D.B32=tmp_D.B32*100/Power_K;
	BL0910_Elect.WATT_10=tmp_D.B32;
	//Reading frequency
	BL0910_Read(Addr_PERIOD, &BL0910_Data);
	tmp_D.B32=BL0910_Data.B32;
	tmp_D.B8[3]=0;
	tmp_D.B32=10000000*100/tmp_D.B32;
	BL0910_Elect.Period=tmp_D.B32;
	// Read 10 active pulse counts to calculate the accumulation of electrical energy.
	BL0910_Read(Addr_CF1_CNT, &BL0910_Data);
	tmp_D.B32=BL0910_Data.B32;
	tmp_D.B8[3]=0;
	tmp_D.B32+=Eng_CFCnt.Cnt1;
	Energy_Cal(tmp_D.B32);
	BL0910_Elect.Energy_1+=Eng_Cal.Energy001;
	Eng_CFCnt.Cnt1=Eng_Cal.cnt_remainder;
	BL0910_Read(Addr_CF2_CNT, &BL0910_Data);
	tmp_D.B32=BL0910_Data.B32;
	tmp_D.B8[3]=0;
	tmp_D.B32+=Eng_CFCnt.Cnt2;
	Energy_Cal(tmp_D.B32);
	BL0910_Elect.Energy_2+=Eng_Cal.Energy001;
	Eng_CFCnt.Cnt2=Eng_Cal.cnt_remainder;
	BL0910_Read(Addr_CF3_CNT, &BL0910_Data);
	tmp_D.B32=BL0910_Data.B32;
	tmp_D.B8[3]=0;
	tmp_D.B32+=Eng_CFCnt.Cnt3;
	Energy_Cal(tmp_D.B32);
	BL0910_Elect.Energy_3+=Eng_Cal.Energy001;
	Eng_CFCnt.Cnt3=Eng_Cal.cnt_remainder;
	BL0910_Read(Addr_CF4_CNT, &BL0910_Data);
	tmp_D.B32=BL0910_Data.B32;
	tmp_D.B8[3]=0;
	tmp_D.B32+=Eng_CFCnt.Cnt4;
	Energy_Cal(tmp_D.B32);
	BL0910_Elect.Energy_4+=Eng_Cal.Energy001;
	Eng_CFCnt.Cnt4=Eng_Cal.cnt_remainder;
	BL0910_Read(Addr_CF5_CNT, &BL0910_Data);
	tmp_D.B32=BL0910_Data.B32;
	tmp_D.B8[3]=0;
	tmp_D.B32+=Eng_CFCnt.Cnt5;
	Energy_Cal(tmp_D.B32);
	BL0910_Elect.Energy_5+=Eng_Cal.Energy001;
	Eng_CFCnt.Cnt5=Eng_Cal.cnt_remainder;
	BL0910_Read(Addr_CF6_CNT, &BL0910_Data);
	tmp_D.B32=BL0910_Data.B32;
	tmp_D.B8[3]=0;
	tmp_D.B32+=Eng_CFCnt.Cnt6;
	Energy_Cal(tmp_D.B32);
	BL0910_Elect.Energy_6+=Eng_Cal.Energy001;
	Eng_CFCnt.Cnt6=Eng_Cal.cnt_remainder;
	BL0910_Read(Addr_CF7_CNT, &BL0910_Data);
	tmp_D.B32=BL0910_Data.B32;
	tmp_D.B8[3]=0;
	tmp_D.B32+=Eng_CFCnt.Cnt7;
	Energy_Cal(tmp_D.B32);
	BL0910_Elect.Energy_7+=Eng_Cal.Energy001;
	Eng_CFCnt.Cnt7=Eng_Cal.cnt_remainder;
	BL0910_Read(Addr_CF8_CNT, &BL0910_Data);
	tmp_D.B32=BL0910_Data.B32;
	tmp_D.B8[3]=0;
	tmp_D.B32+=Eng_CFCnt.Cnt8;
	Energy_Cal(tmp_D.B32);
	BL0910_Elect.Energy_8+=Eng_Cal.Energy001;
	Eng_CFCnt.Cnt8=Eng_Cal.cnt_remainder;
	BL0910_Read(Addr_CF9_CNT, &BL0910_Data);
	tmp_D.B32=BL0910_Data.B32;
	tmp_D.B8[3]=0;
	tmp_D.B32+=Eng_CFCnt.Cnt9;
	Energy_Cal(tmp_D.B32);
	BL0910_Elect.Energy_9+=Eng_Cal.Energy001;
	Eng_CFCnt.Cnt9=Eng_Cal.cnt_remainder;
	BL0910_Read(Addr_CF10_CNT, &BL0910_Data);
	tmp_D.B32=BL0910_Data.B32;
	tmp_D.B8[3]=0;
	tmp_D.B32+=Eng_CFCnt.Cnt10;
	Energy_Cal(tmp_D.B32);
	BL0910_Elect.Energy_10+=Eng_Cal.Energy001;
	Eng_CFCnt.Cnt10=Eng_Cal.cnt_remainder;
	// ܵ
	BL0910_Read(Addr_CF_CNT, &BL0910_Data);
	tmp_D.B32=BL0910_Data.B32;
	tmp_D.B8[3]=0;
	tmp_D.B32+=Eng_CFCnt.Cnt_Sum;
	if(tmp_D.B32>=Energy_Sum_K)
		{
			Eng_Cal.Energy001=tmp_D.B32/Energy_Sum_K;
			Eng_Cal.cnt_remainder=tmp_D.B32%Energy_Sum_K;
		}
	else
		{
			Eng_Cal.Energy001=0;
			Eng_Cal.cnt_remainder=tmp_D.B32;
		}
	BL0910_Elect.Energy_Sum+=Eng_Cal.Energy001;
	Eng_CFCnt.Cnt_Sum=Eng_Cal.cnt_remainder;

}
void Energy_Cal(uint32_t Cnt){
	if (Cnt>=Energy_K)
		{
			Eng_Cal.Energy001 = Cnt / Energy_K;
			Eng_Cal.cnt_remainder = Cnt % Energy_K;
		}
	else
		{
			Eng_Cal.Energy001 = 0;
			Eng_Cal.cnt_remainder = Cnt;
		}
}
void BL0910_Write(uint8_t REG_Addr,B32_B8_TypeDef *pData){

	BL0910_Uart_Write(REG_Addr , pData);
}
void BL0910_Read(uint8_t REG_Addr,B32_B8_TypeDef *pData){

	BL0910_Uart_Read(REG_Addr , pData);
}
/*void updateSwitch(void){
	if (mode1 == 0) {
		rx_relay1 = 'A';
				}
	if (mode1 == 1) {
	    rx_relay1 = 'B';
					//RL2
				}
	if (mode2 == 0) {;
		rx_relay1 = 'C';
	}
	if (mode2 == 1) {
		 rx_relay1 = 'D';
	}
	//RL3
	if (mode4 == 0) {
		 rx_relay1 = 'E';
	}
	if (mode4 == 1) {
		 rx_relay1 = 'F';
	}
	//RL4
	if (mode5 == 0) {
		 rx_relay1 = 'H';
	}
	if (mode5 == 1) {
		 rx_relay1 = 'I';
	}
}*/

void stateRELAY(void){
	HAL_GPIO_WritePin(CON_CoilRL_GPIO_Port, CON_CoilRL_Pin, 0);
	//HAL_Delay(50);
	// RL 1
	if ( rx_relay == 'A' ){
		 	HAL_GPIO_WritePin(CON_CoilRL_GPIO_Port, CON_CoilRL_Pin, 1);
			HAL_Delay(50);
		 	HAL_GPIO_WritePin(RL1_GPIO_Port, RL1_Pin, 1);
		 	HAL_Delay(50);
		 	HAL_GPIO_WritePin(CON_CoilRL_GPIO_Port, CON_CoilRL_Pin, 0);
		    HAL_GPIO_WritePin(LED_D_GPIO_Port, LED_D_Pin,1);
	}
	if ( rx_relay == 'B' ){
			 	HAL_GPIO_WritePin(CON_CoilRL_GPIO_Port, CON_CoilRL_Pin, 1);
				HAL_Delay(50);
			 	HAL_GPIO_WritePin(RL1_GPIO_Port, RL1_Pin, 0);
			 	HAL_Delay(50);
			 	HAL_GPIO_WritePin(CON_CoilRL_GPIO_Port, CON_CoilRL_Pin, 0);
		        HAL_GPIO_WritePin(LED_D_GPIO_Port, LED_D_Pin,0);
    }

	// RL 2
	if ( rx_relay == 'C' ){
		 	HAL_GPIO_WritePin(CON_CoilRL_GPIO_Port, CON_CoilRL_Pin, 1);
			HAL_Delay(50);
		 	HAL_GPIO_WritePin(RL2_GPIO_Port, RL2_Pin, 1);
		 	HAL_Delay(50);
		 	HAL_GPIO_WritePin(CON_CoilRL_GPIO_Port, CON_CoilRL_Pin, 0);
		    HAL_GPIO_WritePin(LED_C_GPIO_Port, LED_C_Pin,1);
	}
	if ( rx_relay == 'D' ){
			 	HAL_GPIO_WritePin(CON_CoilRL_GPIO_Port, CON_CoilRL_Pin, 1);
				HAL_Delay(50);
			 	HAL_GPIO_WritePin(RL2_GPIO_Port, RL2_Pin, 0);
			 	HAL_Delay(50);
			 	HAL_GPIO_WritePin(CON_CoilRL_GPIO_Port, CON_CoilRL_Pin, 0);
		        HAL_GPIO_WritePin(LED_C_GPIO_Port, LED_C_Pin,0);
    }
	// RL 3
	if ( rx_relay == 'E' ){
		 	HAL_GPIO_WritePin(CON_CoilRL_GPIO_Port, CON_CoilRL_Pin, 1);
			HAL_Delay(50);
		 	HAL_GPIO_WritePin(RL3_GPIO_Port, RL3_Pin, 1);
		 	HAL_Delay(50);
		 	HAL_GPIO_WritePin(CON_CoilRL_GPIO_Port, CON_CoilRL_Pin, 0);
		    HAL_GPIO_WritePin(LED_B_GPIO_Port, LED_B_Pin,1);
	}
	if ( rx_relay == 'F' ){
			 	HAL_GPIO_WritePin(CON_CoilRL_GPIO_Port, CON_CoilRL_Pin, 1);
				HAL_Delay(50);
			 	HAL_GPIO_WritePin(RL3_GPIO_Port, RL3_Pin, 0);
			 	HAL_Delay(50);
			 	HAL_GPIO_WritePin(CON_CoilRL_GPIO_Port, CON_CoilRL_Pin, 0);
		        HAL_GPIO_WritePin(LED_B_GPIO_Port, LED_B_Pin,0);
    }
	// RL 4
	if ( rx_relay == 'G' ){
		 	HAL_GPIO_WritePin(CON_CoilRL_GPIO_Port, CON_CoilRL_Pin, 1);
			HAL_Delay(50);
		 	HAL_GPIO_WritePin(RL4_GPIO_Port, RL4_Pin, 1);
		 	HAL_Delay(50);
		 	HAL_GPIO_WritePin(CON_CoilRL_GPIO_Port, CON_CoilRL_Pin, 0);

	}
	if ( rx_relay == 'H' ){
			 	HAL_GPIO_WritePin(CON_CoilRL_GPIO_Port, CON_CoilRL_Pin, 1);
				HAL_Delay(50);
			 	HAL_GPIO_WritePin(RL4_GPIO_Port, RL4_Pin, 0);
			 	HAL_Delay(50);
			 	HAL_GPIO_WritePin(CON_CoilRL_GPIO_Port, CON_CoilRL_Pin, 0);

    }
	// RL 5
		if ( rx_relay == 'I' ){
			 	HAL_GPIO_WritePin(CON_CoilRL_GPIO_Port, CON_CoilRL_Pin, 1);
				HAL_Delay(50);
			 	HAL_GPIO_WritePin(RL5_GPIO_Port, RL5_Pin, 1);
			 	HAL_Delay(50);
			 	HAL_GPIO_WritePin(CON_CoilRL_GPIO_Port, CON_CoilRL_Pin, 0);

		}
		if ( rx_relay == 'J' ){
				 	HAL_GPIO_WritePin(CON_CoilRL_GPIO_Port, CON_CoilRL_Pin, 1);
					HAL_Delay(50);
				 	HAL_GPIO_WritePin(RL5_GPIO_Port, RL5_Pin, 0);
				 	HAL_Delay(50);
				 	HAL_GPIO_WritePin(CON_CoilRL_GPIO_Port, CON_CoilRL_Pin, 0);

	    }
}
//void stateRELAY(void){
//	//HAL_GPIO_WritePin(CON_CoilRL_GPIO_Port, CON_CoilRL_Pin, 0);
//	//HAL_Delay(50);
//	// RL 1
//	if ( rx_relay == 'A' || toggle_BT[0] == 1 ){
//		 	HAL_GPIO_WritePin(CON_CoilRL_GPIO_Port, CON_CoilRL_Pin, 1);
//			HAL_Delay(50);
//		 	HAL_GPIO_WritePin(RL1_GPIO_Port, RL1_Pin, 1);
//		 	HAL_Delay(50);
//		 	HAL_GPIO_WritePin(CON_CoilRL_GPIO_Port, CON_CoilRL_Pin, 0);
//		    HAL_GPIO_WritePin(LED_D_GPIO_Port, LED_D_Pin,1);
//	}
//	if ( rx_relay == 'B' || toggle_BT[0] == 0){
//			 	HAL_GPIO_WritePin(CON_CoilRL_GPIO_Port, CON_CoilRL_Pin, 1);
//				HAL_Delay(50);
//			 	HAL_GPIO_WritePin(RL1_GPIO_Port, RL1_Pin, 0);
//			 	HAL_Delay(50);
//			 	HAL_GPIO_WritePin(CON_CoilRL_GPIO_Port, CON_CoilRL_Pin, 0);
//		        HAL_GPIO_WritePin(LED_D_GPIO_Port, LED_D_Pin,0);
//    }
//
//	// RL 2
//	if ( rx_relay == 'C' || toggle_BT[1] == 1){
//		 	HAL_GPIO_WritePin(CON_CoilRL_GPIO_Port, CON_CoilRL_Pin, 1);
//			HAL_Delay(50);
//		 	HAL_GPIO_WritePin(RL2_GPIO_Port, RL2_Pin, 1);
//		 	HAL_Delay(50);
//		 	HAL_GPIO_WritePin(CON_CoilRL_GPIO_Port, CON_CoilRL_Pin, 0);
//		    HAL_GPIO_WritePin(LED_C_GPIO_Port, LED_C_Pin,1);
//	}
//	if ( rx_relay == 'D' || toggle_BT[1] == 0){
//			 	HAL_GPIO_WritePin(CON_CoilRL_GPIO_Port, CON_CoilRL_Pin, 1);
//				HAL_Delay(50);
//			 	HAL_GPIO_WritePin(RL2_GPIO_Port, RL2_Pin, 0);
//			 	HAL_Delay(50);
//			 	HAL_GPIO_WritePin(CON_CoilRL_GPIO_Port, CON_CoilRL_Pin, 0);
//		        HAL_GPIO_WritePin(LED_C_GPIO_Port, LED_C_Pin,0);
//    }
//	// RL 3
//	if ( rx_relay == 'E' || toggle_BT[2] == 1){
//		 	HAL_GPIO_WritePin(CON_CoilRL_GPIO_Port, CON_CoilRL_Pin, 1);
//			HAL_Delay(50);
//		 	HAL_GPIO_WritePin(RL3_GPIO_Port, RL3_Pin, 1);
//		 	HAL_Delay(50);
//		 	HAL_GPIO_WritePin(CON_CoilRL_GPIO_Port, CON_CoilRL_Pin, 0);
//		    HAL_GPIO_WritePin(LED_B_GPIO_Port, LED_B_Pin,1);
//	}
//	if ( rx_relay == 'F' || toggle_BT[2] == 0){
//			 	HAL_GPIO_WritePin(CON_CoilRL_GPIO_Port, CON_CoilRL_Pin, 1);
//				HAL_Delay(50);
//			 	HAL_GPIO_WritePin(RL3_GPIO_Port, RL3_Pin, 0);
//			 	HAL_Delay(50);
//			 	HAL_GPIO_WritePin(CON_CoilRL_GPIO_Port, CON_CoilRL_Pin, 0);
//		        HAL_GPIO_WritePin(LED_B_GPIO_Port, LED_B_Pin,0);
//    }
//	// RL 4
//	if ( rx_relay == 'G'|| toggle_BT[3] == 1 ){
//		 	HAL_GPIO_WritePin(CON_CoilRL_GPIO_Port, CON_CoilRL_Pin, 1);
//			HAL_Delay(50);
//		 	HAL_GPIO_WritePin(RL4_GPIO_Port, RL4_Pin, 1);
//		 	HAL_Delay(50);
//		 	HAL_GPIO_WritePin(CON_CoilRL_GPIO_Port, CON_CoilRL_Pin, 0);
//
//	}
//	if ( rx_relay == 'H'|| toggle_BT[3] == 0 ){
//			 	HAL_GPIO_WritePin(CON_CoilRL_GPIO_Port, CON_CoilRL_Pin, 1);
//				HAL_Delay(50);
//			 	HAL_GPIO_WritePin(RL4_GPIO_Port, RL4_Pin, 0);
//			 	HAL_Delay(50);
//			 	HAL_GPIO_WritePin(CON_CoilRL_GPIO_Port, CON_CoilRL_Pin, 0);
//
//    }
//	// RL 5
//		if ( rx_relay == 'I' || toggle_BT[4] == 1){
//			 	HAL_GPIO_WritePin(CON_CoilRL_GPIO_Port, CON_CoilRL_Pin, 1);
//				HAL_Delay(50);
//			 	HAL_GPIO_WritePin(RL5_GPIO_Port, RL5_Pin, 1);
//			 	HAL_Delay(50);
//			 	HAL_GPIO_WritePin(CON_CoilRL_GPIO_Port, CON_CoilRL_Pin, 0);
//
//		}
//		if ( rx_relay == 'J' || toggle_BT[4] == 0){
//				 	HAL_GPIO_WritePin(CON_CoilRL_GPIO_Port, CON_CoilRL_Pin, 1);
//					HAL_Delay(50);
//				 	HAL_GPIO_WritePin(RL5_GPIO_Port, RL5_Pin, 0);
//				 	HAL_Delay(50);
//				 	HAL_GPIO_WritePin(CON_CoilRL_GPIO_Port, CON_CoilRL_Pin, 0);
//
//	    }
//}
/* USER CODE END 4 */

void Error_Handler(void)
{
  __disable_irq();
  while (1)
  {
  }
}
